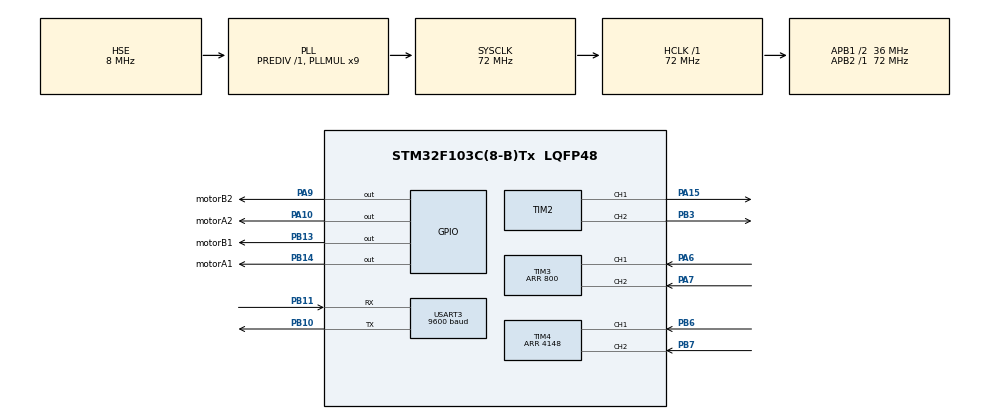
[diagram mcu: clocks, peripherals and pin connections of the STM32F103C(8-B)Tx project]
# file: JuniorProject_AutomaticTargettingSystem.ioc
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Dma.Request0=USART3_RX
Dma.USART3_RX.0.Direction=DMA_PERIPH_TO_MEMORY
Dma.USART3_RX.0.Instance=DMA1_Channel3
Dma.USART3_RX.0.MemDataAlignment=DMA_MDATAALIGN_BYTE
Dma.USART3_RX.0.MemInc=DMA_MINC_ENABLE
Dma.USART3_RX.0.Mode=DMA_NORMAL
Dma.USART3_RX.0.PeriphDataAlignment=DMA_PDATAALIGN_BYTE
Dma.USART3_RX.0.PeriphInc=DMA_PINC_DISABLE
Dma.USART3_RX.0.Priority=DMA_PRIORITY_LOW
Mcu.Family=STM32F1
Mcu.Name=STM32F103C(8-B)Tx
Mcu.Package=LQFP48
NVIC.DMA1_Channel3_IRQn=true\:0\:0\:false\:false\:true\:false\:true\:true
NVIC.PriorityGroup=NVIC_PRIORITYGROUP_4
NVIC.TIM3_IRQn=true\:0\:0\:false\:false\:true\:true\:true\:true
NVIC.TIM4_IRQn=true\:0\:0\:false\:false\:true\:true\:true\:true
NVIC.USART3_IRQn=true\:0\:0\:false\:false\:true\:true\:true\:true
PA10.GPIO_Label=motorA2
PA10.Signal=GPIO_Output
PA15.Signal=S_TIM2_CH1_ETR
PA6.Signal=S_TIM3_CH1
PA7.Signal=S_TIM3_CH2
PA9.GPIO_Label=motorB2
PA9.Signal=GPIO_Output
PB10.Mode=Asynchronous
PB10.Signal=USART3_TX
PB11.Mode=Asynchronous
PB11.Signal=USART3_RX
PB13.GPIO_Label=motorB1
PB13.Signal=GPIO_Output
PB14.GPIO_Label=motorA1
PB14.Signal=GPIO_Output
PB3.Signal=S_TIM2_CH2
PB6.Signal=S_TIM4_CH1
PB7.Signal=S_TIM4_CH2
PD0-OSC_IN.Mode=HSE-External-Oscillator
PD0-OSC_IN.Signal=RCC_OSC_IN
PD1-OSC_OUT.Mode=HSE-External-Oscillator
PD1-OSC_OUT.Signal=RCC_OSC_OUT
ProjectManager.HeapSize=0x200
ProjectManager.StackSize=0x400
ProjectManager.TargetToolchain=STM32CubeIDE
RCC.AHBFreq_Value=72000000
RCC.APB1CLKDivider=RCC_HCLK_DIV2
RCC.APB1Freq_Value=36000000
RCC.APB1TimFreq_Value=72000000
RCC.APB2Freq_Value=72000000
RCC.APB2TimFreq_Value=72000000
RCC.HCLKFreq_Value=72000000
RCC.PLLMUL=RCC_PLL_MUL9
RCC.PLLSourceVirtual=RCC_PLLSOURCE_HSE
RCC.SYSCLKFreq_VALUE=72000000
RCC.SYSCLKSource=RCC_SYSCLKSOURCE_PLLCLK
RCC.USBFreq_Value=72000000
SH.S_TIM2_CH1_ETR.0=TIM2_CH1,PWM Generation1 CH1
SH.S_TIM2_CH2.0=TIM2_CH2,PWM Generation2 CH2
SH.S_TIM3_CH1.0=TIM3_CH1,Encoder_Interface
SH.S_TIM3_CH2.0=TIM3_CH2,Encoder_Interface
SH.S_TIM4_CH1.0=TIM4_CH1,Encoder_Interface
SH.S_TIM4_CH2.0=TIM4_CH2,Encoder_Interface
TIM2.Channel-PWM\ Generation1\ CH1=TIM_CHANNEL_1
TIM2.Channel-PWM\ Generation2\ CH2=TIM_CHANNEL_2
TIM2.Pulse-PWM\ Generation1\ CH1=50000
TIM2.Pulse-PWM\ Generation2\ CH2=50000
TIM3.AutoReloadPreload=TIM_AUTORELOAD_PRELOAD_ENABLE
TIM3.EncoderMode=TIM_ENCODERMODE_TI12
TIM3.IC1Filter=10
TIM3.IC2Filter=10
TIM3.Period=800
TIM4.AutoReloadPreload=TIM_AUTORELOAD_PRELOAD_ENABLE
TIM4.EncoderMode=TIM_ENCODERMODE_TI12
TIM4.IC1Filter=10
TIM4.IC2Filter=10
TIM4.Period=4148
USART3.BaudRate=9600
USART3.VirtualMode=VM_ASYNC
VP_SYS_VS_ND.Mode=No_Debug
board=custom

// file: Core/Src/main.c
/* USER CODE BEGIN Header */
/**
  ******************************************************************************
  * @file           : main.c
  * @brief          : Main program body
  ******************************************************************************
  * @attention
  *
  * Copyright (c) 2024 STMicroelectronics.
  * All rights reserved.
  *
  * This software is licensed under terms that can be found in the LICENSE file
  * in the root directory of this software component.
  * If no LICENSE file comes with this software, it is provided AS-IS.
  *
  ******************************************************************************
  */
/* USER CODE END Header */
#include "main.h"

/* USER CODE BEGIN Includes */
#include <stdio.h>
#include <stdlib.h>
#include <string.h>
#include "manual_control.h"
#include "pid.h"
/* USER CODE END Includes */

TIM_HandleTypeDef htim2;
TIM_HandleTypeDef htim3;
TIM_HandleTypeDef htim4;

UART_HandleTypeDef huart3;
DMA_HandleTypeDef hdma_usart3_rx;

/* USER CODE BEGIN PV */

volatile int base_proj_point;
volatile int tilt_proj_point;

uint8_t projected_points[6] = {0};
uint8_t start_char = 0x00;
uint8_t bool_started = 0x00;

PID_TypeDef basePID;
PID_TypeDef tiltPID;

double posIn1, posIn2, spOut1, spOut2, goal1, goal2;
/* USER CODE END PV */

void SystemClock_Config(void);
static void MX_GPIO_Init(void);
static void MX_DMA_Init(void);
static void MX_TIM2_Init(void);
static void MX_TIM3_Init(void);
static void MX_TIM4_Init(void);
static void MX_USART3_UART_Init(void);

/* USER CODE BEGIN 0 */
void HAL_UART_RxCpltCallback(UART_HandleTypeDef *huart)
{
	if(!bool_started){
		if(start_char == 'a'){
			bool_started = 1;
			HAL_UART_Receive_DMA(&huart3, projected_points, 6);
			return;
		}else{
			HAL_UART_Receive_DMA(&huart3, &start_char, 1);
			return;
		}

	}else{
		HAL_UART_Transmit(&huart3, projected_points, 6, 100);

		for (int i = 0; i < 6; i++) {
			if (projected_points[i] < '0' || projected_points[i] > '9') {
				HAL_UART_Receive_DMA(&huart3, projected_points, 6);  // Restart DMA reception
				return;
			}
		}

		int base_coord = (int)(projected_points[0] - '0') * 100 +
						(int)(projected_points[1] - '0') * 10  +
						(int)(projected_points[2] - '0');

		int tilt_coord = (int)(projected_points[3] - '0') * 100 +
						(int)(projected_points[4] - '0') * 10  +
						(int)(projected_points[5] - '0');

		base_proj_point = base_coord;
		tilt_proj_point = tilt_coord;

		bool_started = 0;
		HAL_UART_Receive_DMA(&huart3, &start_char, 1);
	}
}
/* USER CODE END 0 */

int main(void)
{

  /* MCU Configuration--------------------------------------------------------*/

  /* Reset of all peripherals, Initializes the Flash interface and the Systick. */
  HAL_Init();

  /* USER CODE BEGIN Init */

  // 0.095 0.07 0.05 + 0.01
  // 0.04 0.035 0.025
  PID(&basePID, &posIn1, &spOut1, &goal1, 0.095, 0.07, 0.05, _PID_P_ON_E, _PID_CD_DIRECT);
  PID(&tiltPID, &posIn2, &spOut2, &goal2, 0.04, 0.035, 0.025, _PID_P_ON_E, _PID_CD_DIRECT);

  PID_SetMode(&basePID, _PID_MODE_AUTOMATIC);
  PID_SetSampleTime(&basePID, 500);
  PID_SetOutputLimits(&basePID, -0.15, 0.15);

  PID_SetMode(&tiltPID, _PID_MODE_AUTOMATIC);
  PID_SetSampleTime(&tiltPID, 500);
  PID_SetOutputLimits(&tiltPID, -0.15, 0.15);
  /* USER CODE END Init */

  /* Configure the system clock */
  SystemClock_Config();

  /* Initialize all configured peripherals */
  MX_GPIO_Init();
  MX_DMA_Init();
  MX_TIM2_Init();
  MX_TIM3_Init();
  MX_TIM4_Init();
  MX_USART3_UART_Init();
  /* USER CODE BEGIN 2 */
  HAL_TIM_PWM_Start(&htim2, TIM_CHANNEL_1);
  HAL_TIM_PWM_Start(&htim2, TIM_CHANNEL_2);

  HAL_TIM_Encoder_Start(&htim3, TIM_CHANNEL_ALL);
  HAL_TIM_Encoder_Start(&htim4, TIM_CHANNEL_ALL);

  HAL_UART_Receive_DMA(&huart3, &start_char, 1);

  //uint8_t MSGTIM4BaseMotor[50] = {'\0'};
  //uint8_t MSGTIM3TiltMotor[50] = {'\0'};

  uint8_t MSGsp1[50] = {'\0'};
  uint8_t MSGsp2[50] = {'\0'};
  uint8_t MSGsp3[50] = {'\0'};
  uint8_t MSGsp4[50] = {'\0'};

  int base_set_point = 320;
  int tilt_set_point = 200;
  base_proj_point = 320;
  tilt_proj_point = 200;
  /* USER CODE END 2 */

  /* Infinite loop */
  /* USER CODE BEGIN WHILE */

  while (1)
  {

	  //sprintf(MSGTIM4BaseMotor, "Base Encoder Ticks = %d, ", TIM4->CNT);
	  //sprintf(MSGTIM3TiltMotor, "Tilt Encoder Ticks = %d ", TIM3->CNT);
	  sprintf(MSGsp1, "Base Proj Point = %d, ", base_proj_point);
	  sprintf(MSGsp2, "Tilt Proj Point = %d, ", tilt_proj_point);
	  sprintf(MSGsp3, "Base PID Out = %d, ", (int)(TIM2->CCR1));
	  sprintf(MSGsp4, "Tilt PID Out = %d\n\r", (int)(TIM2->CCR2));

	  //HAL_UART_Transmit(&huart3, MSGTIM4BaseMotor, sizeof(MSGTIM4BaseMotor), 100);
	  //HAL_UART_Transmit(&huart3, MSGTIM3TiltMotor, sizeof(MSGTIM3TiltMotor), 100);

	  HAL_UART_Transmit(&huart3, MSGsp1, sizeof(MSGsp1), 100);
	  HAL_UART_Transmit(&huart3, MSGsp2, sizeof(MSGsp2), 100);
	  HAL_UART_Transmit(&huart3, MSGsp3, sizeof(MSGsp3), 100);
	  HAL_UART_Transmit(&huart3, MSGsp4, sizeof(MSGsp4), 100);

	  runMotors(&basePID, &tiltPID, base_proj_point, tilt_proj_point, base_set_point, tilt_set_point);
    /* USER CODE END WHILE */

  }
}

void SystemClock_Config(void)
{
  RCC_OscInitTypeDef RCC_OscInitStruct = {0};
  RCC_ClkInitTypeDef RCC_ClkInitStruct = {0};

  /** Initializes the RCC Oscillators according to the specified parameters
  * in the RCC_OscInitTypeDef structure.
  */
  RCC_OscInitStruct.OscillatorType = RCC_OSCILLATORTYPE_HSE;
  RCC_OscInitStruct.HSEState = RCC_HSE_ON;
  RCC_OscInitStruct.HSEPredivValue = RCC_HSE_PREDIV_DIV1;
  RCC_OscInitStruct.HSIState = RCC_HSI_ON;
  RCC_OscInitStruct.PLL.PLLState = RCC_PLL_ON;
  RCC_OscInitStruct.PLL.PLLSource = RCC_PLLSOURCE_HSE;
  RCC_OscInitStruct.PLL.PLLMUL = RCC_PLL_MUL9;
  if (HAL_RCC_OscConfig(&RCC_OscInitStruct) != HAL_OK)
  {
    Error_Handler();
  }

  /** Initializes the CPU, AHB and APB buses clocks
  */
  RCC_ClkInitStruct.ClockType = RCC_CLOCKTYPE_HCLK|RCC_CLOCKTYPE_SYSCLK
                              |RCC_CLOCKTYPE_PCLK1|RCC_CLOCKTYPE_PCLK2;
  RCC_ClkInitStruct.SYSCLKSource = RCC_SYSCLKSOURCE_PLLCLK;
  RCC_ClkInitStruct.AHBCLKDivider = RCC_SYSCLK_DIV1;
  RCC_ClkInitStruct.APB1CLKDivider = RCC_HCLK_DIV2;
  RCC_ClkInitStruct.APB2CLKDivider = RCC_HCLK_DIV1;

  if (HAL_RCC_ClockConfig(&RCC_ClkInitStruct, FLASH_LATENCY_2) != HAL_OK)
  {
    Error_Handler();
  }
}

static void MX_TIM2_Init(void)
{

  TIM_MasterConfigTypeDef sMasterConfig = {0};
  TIM_OC_InitTypeDef sConfigOC = {0};

  htim2.Instance = TIM2;
  htim2.Init.Prescaler = 0;
  htim2.Init.CounterMode = TIM_COUNTERMODE_UP;
  htim2.Init.Period = 65535;
  htim2.Init.ClockDivision = TIM_CLOCKDIVISION_DIV1;
  htim2.Init.AutoReloadPreload = TIM_AUTORELOAD_PRELOAD_DISABLE;
  if (HAL_TIM_PWM_Init(&htim2) != HAL_OK)
  {
    Error_Handler();
  }
  sMasterConfig.MasterOutputTrigger = TIM_TRGO_RESET;
  sMasterConfig.MasterSlaveMode = TIM_MASTERSLAVEMODE_DISABLE;
  if (HAL_TIMEx_MasterConfigSynchronization(&htim2, &sMasterConfig) != HAL_OK)
  {
    Error_Handler();
  }
  sConfigOC.OCMode = TIM_OCMODE_PWM1;
  sConfigOC.Pulse = 50000;
  sConfigOC.OCPolarity = TIM_OCPOLARITY_HIGH;
  sConfigOC.OCFastMode = TIM_OCFAST_DISABLE;
  if (HAL_TIM_PWM_ConfigChannel(&htim2, &sConfigOC, TIM_CHANNEL_1) != HAL_OK)
  {
    Error_Handler();
  }
  if (HAL_TIM_PWM_ConfigChannel(&htim2, &sConfigOC, TIM_CHANNEL_2) != HAL_OK)
  {
    Error_Handler();
  }
  HAL_TIM_MspPostInit(&htim2);

}

static void MX_TIM3_Init(void)
{

  TIM_Encoder_InitTypeDef sConfig = {0};
  TIM_MasterConfigTypeDef sMasterConfig = {0};

  htim3.Instance = TIM3;
  htim3.Init.Prescaler = 0;
  htim3.Init.CounterMode = TIM_COUNTERMODE_UP;
  htim3.Init.Period = 800;
  htim3.Init.ClockDivision = TIM_CLOCKDIVISION_DIV1;
  htim3.Init.AutoReloadPreload = TIM_AUTORELOAD_PRELOAD_ENABLE;
  sConfig.EncoderMode = TIM_ENCODERMODE_TI12;
  sConfig.IC1Polarity = TIM_ICPOLARITY_RISING;
  sConfig.IC1Selection = TIM_ICSELECTION_DIRECTTI;
  sConfig.IC1Prescaler = TIM_ICPSC_DIV1;
  sConfig.IC1Filter = 10;
  sConfig.IC2Polarity = TIM_ICPOLARITY_RISING;
  sConfig.IC2Selection = TIM_ICSELECTION_DIRECTTI;
  sConfig.IC2Prescaler = TIM_ICPSC_DIV1;
  sConfig.IC2Filter = 10;
  if (HAL_TIM_Encoder_Init(&htim3, &sConfig) != HAL_OK)
  {
    Error_Handler();
  }
  sMasterConfig.MasterOutputTrigger = TIM_TRGO_RESET;
  sMasterConfig.MasterSlaveMode = TIM_MASTERSLAVEMODE_DISABLE;
  if (HAL_TIMEx_MasterConfigSynchronization(&htim3, &sMasterConfig) != HAL_OK)
  {
    Error_Handler();
  }

}

static void MX_TIM4_Init(void)
{

  TIM_Encoder_InitTypeDef sConfig = {0};
  TIM_MasterConfigTypeDef sMasterConfig = {0};

  htim4.Instance = TIM4;
  htim4.Init.Prescaler = 0;
  htim4.Init.CounterMode = TIM_COUNTERMODE_UP;
  htim4.Init.Period = 4148;
  htim4.Init.ClockDivision = TIM_CLOCKDIVISION_DIV1;
  htim4.Init.AutoReloadPreload = TIM_AUTORELOAD_PRELOAD_ENABLE;
  sConfig.EncoderMode = TIM_ENCODERMODE_TI12;
  sConfig.IC1Polarity = TIM_ICPOLARITY_RISING;
  sConfig.IC1Selection = TIM_ICSELECTION_DIRECTTI;
  sConfig.IC1Prescaler = TIM_ICPSC_DIV1;
  sConfig.IC1Filter = 10;
  sConfig.IC2Polarity = TIM_ICPOLARITY_RISING;
  sConfig.IC2Selection = TIM_ICSELECTION_DIRECTTI;
  sConfig.IC2Prescaler = TIM_ICPSC_DIV1;
  sConfig.IC2Filter = 10;
  if (HAL_TIM_Encoder_Init(&htim4, &sConfig) != HAL_OK)
  {
    Error_Handler();
  }
  sMasterConfig.MasterOutputTrigger = TIM_TRGO_RESET;
  sMasterConfig.MasterSlaveMode = TIM_MASTERSLAVEMODE_DISABLE;
  if (HAL_TIMEx_MasterConfigSynchronization(&htim4, &sMasterConfig) != HAL_OK)
  {
    Error_Handler();
  }

}

static void MX_USART3_UART_Init(void)
{

  huart3.Instance = USART3;
  huart3.Init.BaudRate = 9600;
  huart3.Init.WordLength = UART_WORDLENGTH_8B;
  huart3.Init.StopBits = UART_STOPBITS_1;
  huart3.Init.Parity = UART_PARITY_NONE;
  huart3.Init.Mode = UART_MODE_TX_RX;
  huart3.Init.HwFlowCtl = UART_HWCONTROL_NONE;
  huart3.Init.OverSampling = UART_OVERSAMPLING_16;
  if (HAL_UART_Init(&huart3) != HAL_OK)
  {
    Error_Handler();
  }

}

static void MX_DMA_Init(void)
{

  /* DMA controller clock enable */
  __HAL_RCC_DMA1_CLK_ENABLE();

  /* DMA interrupt init */
  /* DMA1_Channel3_IRQn interrupt configuration */
  HAL_NVIC_SetPriority(DMA1_Channel3_IRQn, 0, 0);
  HAL_NVIC_EnableIRQ(DMA1_Channel3_IRQn);

}

static void MX_GPIO_Init(void)
{
  GPIO_InitTypeDef GPIO_InitStruct = {0};

  /* GPIO Ports Clock Enable */
  __HAL_RCC_GPIOD_CLK_ENABLE();
  __HAL_RCC_GPIOA_CLK_ENABLE();
  __HAL_RCC_GPIOB_CLK_ENABLE();

  /*Configure GPIO pin Output Level */
  HAL_GPIO_WritePin(GPIOB, motorB1_Pin|motorA1_Pin, GPIO_PIN_RESET);

  /*Configure GPIO pin Output Level */
  HAL_GPIO_WritePin(GPIOA, motorB2_Pin|motorA2_Pin, GPIO_PIN_RESET);

  /*Configure GPIO pins : motorB1_Pin motorA1_Pin */
  GPIO_InitStruct.Pin = motorB1_Pin|motorA1_Pin;
  GPIO_InitStruct.Mode = GPIO_MODE_OUTPUT_PP;
  GPIO_InitStruct.Pull = GPIO_NOPULL;
  GPIO_InitStruct.Speed = GPIO_SPEED_FREQ_LOW;
  HAL_GPIO_Init(GPIOB, &GPIO_InitStruct);

  /*Configure GPIO pins : motorB2_Pin motorA2_Pin */
  GPIO_InitStruct.Pin = motorB2_Pin|motorA2_Pin;
  GPIO_InitStruct.Mode = GPIO_MODE_OUTPUT_PP;
  GPIO_InitStruct.Pull = GPIO_NOPULL;
  GPIO_InitStruct.Speed = GPIO_SPEED_FREQ_LOW;
  HAL_GPIO_Init(GPIOA, &GPIO_InitStruct);

}

void Error_Handler(void)
{
  __disable_irq();
  while (1)
  {
  }
}
